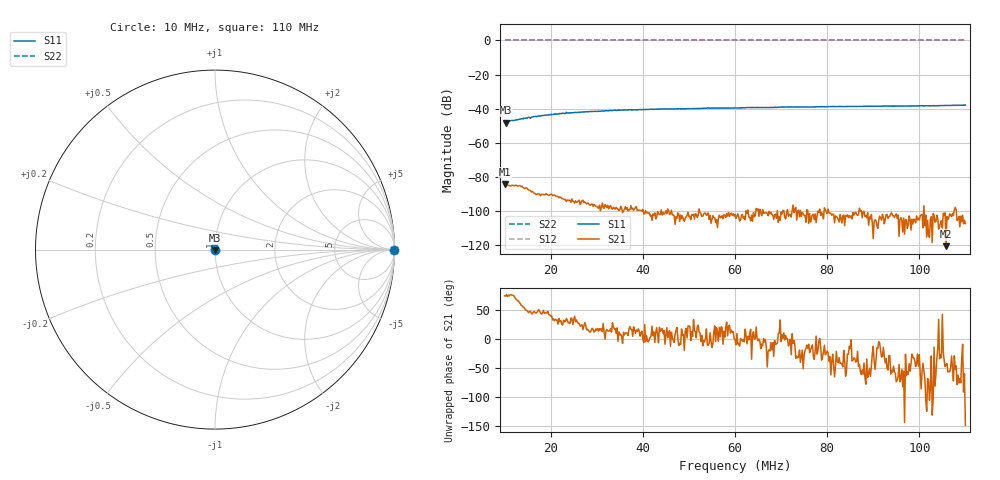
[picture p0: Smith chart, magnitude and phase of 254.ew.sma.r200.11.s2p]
! Anritsu VNA Master:  Model: MS2036C/10/77
! SN:  1601066
! /card0/usr/254.ew.sma.r200.11.s2p
! Existing Calibration Information:
! TYPE:  Current Settings,  Active Cal Settings
! TIME:  12/20/2017 12:37:48 PM,  12/20/2017 12:32:09 PM
! INTERNAL TEMP:  45.3 C,  45.8 C
! # POINTS:  501,  501
! START FREQ:  10.000 MHz,  10.000 MHz
! STOP FREQ:  110.000 MHz,  110.000 MHz
! SOURCE POWER:  High,  High
! IFBW:  100 Hz,  100 Hz
! AVG FACTOR:  1 ,  1
! REF PLANE 1:  0 mm,  0 mm
! REF PLANE 2:  0 mm,  0 mm
! CAL TYPE:  Full S11,  Full S11
! CAL METHOD:  SOLT,  SOLT
! CAL LINE TYPE:  Coax,  Coax
! DUT PORT 1:  N-Conn(F),  N-Conn(F)
! DUT PORT 2:  K-Conn(F),  K-Conn(F)
! CAL STATUS:  OK: Accuracy High,  --
# GHZ S DB R 50.0
! FREQ.GHZ  S11DB  S11A  S21DB  S21A  S12DB  S12A  S22DB  S22A
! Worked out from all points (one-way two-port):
!   501 points, 10 MHz to 110 MHz, reference 50 ohm
!   highest |S21| = -84.19 dB at 10 MHz (marker M1); lowest = -120.6 dB at 105.8 MHz (marker M2)
!   lowest |S11| = -48.2 dB at 10.2 MHz (marker M3), VSWR 1.01, Z = 49.9 - j0.37 ohm
!   |S11| at or under -10 dB: start of sweep to end of sweep
!   |S22| runs from 0.0 to 0.0 dB; largest |S21 - S12| = 1
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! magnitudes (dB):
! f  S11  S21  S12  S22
! 10 MHz  -47.8  -84.2  0.0  0.0
! 10.2 MHz  -48.2  -84.8  0.0  0.0
! 11.4 MHz  -46.9  -85.3  0.0  0.0
! 12.2 MHz  -46.8  -85.1  0.0  0.0
! 15 MHz  -45.4  -87.2  0.0  0.0
! 15.8 MHz  -45.0  -88.8  0.0  0.0
! 16.4 MHz  -44.6  -89.5  0.0  0.0
! 18.2 MHz  -44.0  -90.4  0.0  0.0
! 22.4 MHz  -42.8  -92.6  0.0  0.0
! 26.8 MHz  -42.0  -93.9  0.0  0.0
! 34 MHz  -40.9  -98.9  0.0  0.0
! 43.4 MHz  -40.2  -101.7  0.0  0.0
! 54.6 MHz  -39.8  -102.6  0.0  0.0
! 60 MHz  -39.6  -102.1  0.0  0.0
! 63.4 MHz  -39.3  -105.8  0.0  0.0
! 67.8 MHz  -39.3  -100.7  0.0  0.0
! 71.6 MHz  -39.0  -103.1  0.0  0.0
! 76.8 MHz  -39.0  -102.2  0.0  0.0
! 81.2 MHz  -38.7  -101.9  0.0  0.0
! 93.4 MHz  -38.5  -103.5  0.0  0.0
! 105.8 MHz  -38.1  -120.6  0.0  0.0
! 110 MHz  -37.9  -107.4  0.0  0.0
